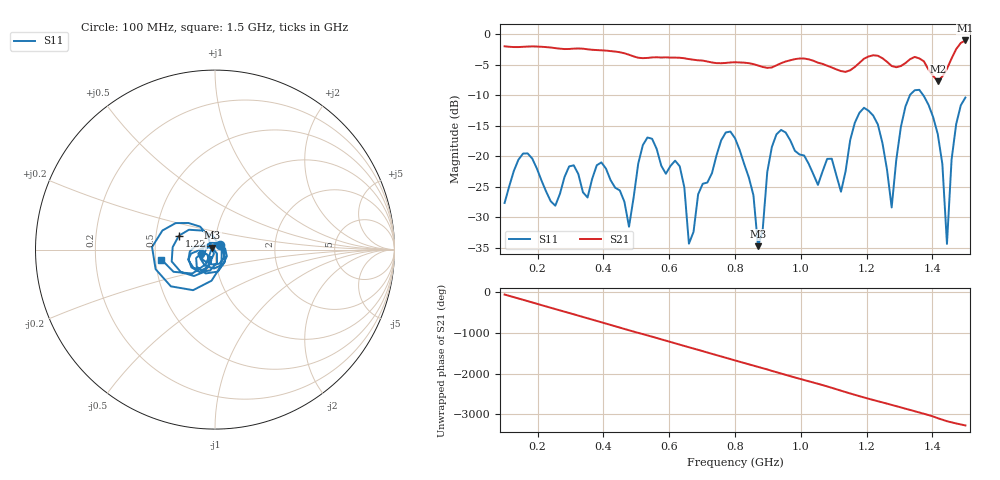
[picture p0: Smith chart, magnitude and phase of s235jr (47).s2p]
! NanoVNA-App
! Date: 2025-09-26 09:45:09
! Start: 100MHz Stop: 1,5GHz Points: 101
! S-Parameter data: F S11 S21 S12 S22
# Hz S RI R 50
!  Frequency  S11_Real  S11_Imag  S21_Real  S21_Imag  S12_Real  S12_Imag  S22_Real  S22_Imag
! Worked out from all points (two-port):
!   101 points, 100 MHz to 1.5 GHz, reference 50 ohm
!   highest |S21| = -0.99 dB at 1.5 GHz (marker M1); lowest = -7.7 dB at 1.416 GHz (marker M2)
!   |S21| within 3 dB of the highest: start of sweep to 654 MHz; 1.192 GHz to 1.25 GHz (58.17 MHz wide, 4.76 % of centre) (the widest 2 of 5)
!   lowest |S11| = -34.7 dB at 870 MHz (marker M3), VSWR 1.04, Z = 48.5 + j0.976 ohm
!   |S11| at or under -10 dB: start of sweep to 1.331 GHz; 1.372 GHz to end of sweep
!   S12 and S22 are empty: the file has one direction only
!   S11 on the Smith chart (normalised r, x): 100 MHz: 1.06, +0.06; 1.22 GHz: 0.66, +0.11; 1.5 GHz: 0.54, -0.07
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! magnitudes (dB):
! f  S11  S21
! 100 MHz  -27.6  -2.0
! 156 MHz  -19.5  -2.0
! 338 MHz  -25.9  -2.3
! 394 MHz  -21.0  -2.6
! 478 MHz  -31.6  -3.3
! 520 MHz  -18.2  -3.9
! 576 MHz  -21.5  -3.8
! 632 MHz  -21.6  -3.8
! 660 MHz  -34.3  -4.0
! 800 MHz  -17.0  -4.6
! 870 MHz  -34.7  -5.1
! 926 MHz  -16.4  -5.1
! 1.038 GHz  -22.9  -4.3
! 1.122 GHz  -25.8  -6.0
! 1.164 GHz  -14.5  -5.3
! 1.22 GHz  -13.3  -3.4
! 1.276 GHz  -28.4  -5.2
! 1.332 GHz  -9.9  -4.1
! 1.416 GHz  -16.3  -7.7
! 1.444 GHz  -34.4  -5.6
! 1.458 GHz  -20.5  -4.0
! 1.5 GHz  -10.4  -1.0
